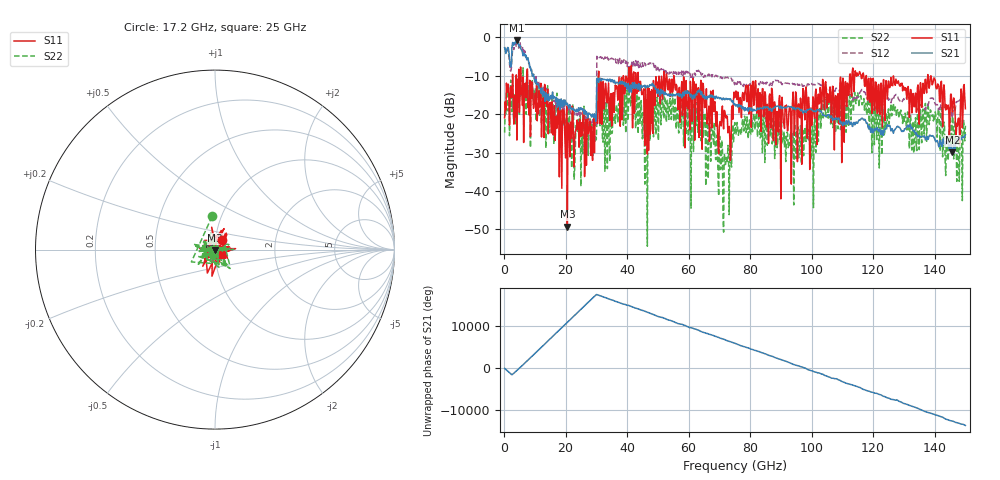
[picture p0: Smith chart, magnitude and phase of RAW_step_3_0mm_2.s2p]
!  2-Port S-parameters saved by WinCal
! VAR MeasName=S-Parameters (CALIBRATED_DATA) read from VNA (MS4647B)
! VAR MeasDate=27-Apr-22 17:23:16
! VAR NAME=RAW_stepline_3mm_2
! VAR FILENAME=RAW_stepline_3mm_2.S2P
! VAR DATE=27-Apr-22 17:23:16
! VAR PHYS_PORTS=1,2
! VAR ObjTypeName=DATASET
! VAR IndexType=Frequency
! VAR ChuckHeaterState=Unknown
! VAR ChuckTemp=NaN
! VAR ChuckTempUnits=Unknown
# Hz S RI R 50
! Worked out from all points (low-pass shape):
!   750 points, 200 MHz to 150 GHz, reference 50 ohm
!   highest |S21| = -0.85 dB at 4.2 GHz (marker M1); lowest = -30.0 dB at 145.8 GHz (marker M2)
!   |S21| within 3 dB of the highest: 722.7 MHz to 1.59 GHz (867.2 MHz wide, 75 % of centre); 2.542 GHz to 5.948 GHz (3.406 GHz wide, 80.2 % of centre)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
!   lowest |S11| = -49.3 dB at 20.6 GHz (marker M3), VSWR 1.01, Z = 50.1 - j0.337 ohm
!   |S11| at or under -10 dB: 7.635 GHz to 30.69 GHz (23.05 GHz wide, 120 % of centre); 55.21 GHz to 112.4 GHz (57.18 GHz wide, 68.2 % of centre); 117.8 GHz to 137.8 GHz (19.96 GHz wide, 15.6 % of centre)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
!   |S22| runs from -54.4 to -8.0 dB; largest |S21 - S12| = 1.8
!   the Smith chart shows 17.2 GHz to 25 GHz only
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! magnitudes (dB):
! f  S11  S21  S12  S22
! 200 MHz  -20.9  -2.7  -2.6  -24.8
! 4.2 GHz  -26.8  -0.8  -1.4  -24.4
! 13.8 GHz  -15.5  -15.1  -14.5  -17.9
! 20.6 GHz  -49.3  -17.2  -18.0  -20.5
! 25.2 GHz  -22.2  -18.7  -20.4  -24.9
! 29.4 GHz  -30.1  -19.9  -21.5  -27.2
! 30.8 GHz  -8.8  -11.7  -5.4  -16.5
! 34.8 GHz  -14.7  -11.6  -5.6  -21.1
! 41.2 GHz  -10.8  -12.4  -8.4  -17.9
! 46 GHz  -12.6  -13.2  -7.4  -18.8
! 50.2 GHz  -13.6  -13.5  -8.4  -26.9
! 64.8 GHz  -12.4  -15.6  -10.4  -26.2
! 71.8 GHz  -19.3  -16.3  -10.6  -31.4
! 73.4 GHz  -26.0  -16.3  -10.6  -31.1
! 75.2 GHz  -15.2  -17.5  -11.7  -22.4
! 89.4 GHz  -16.5  -18.2  -11.7  -21.7
! 100.2 GHz  -22.4  -19.0  -12.2  -23.2
! 104.6 GHz  -11.6  -20.6  -13.1  -20.7
! 125.2 GHz  -12.9  -23.0  -16.2  -22.6
! 145.8 GHz  -19.5  -30.0  -20.9  -20.5
! 147.6 GHz  -21.3  -26.4  -16.6  -26.2
! 150 GHz  -18.6  -25.4  -16.1  -23.0
